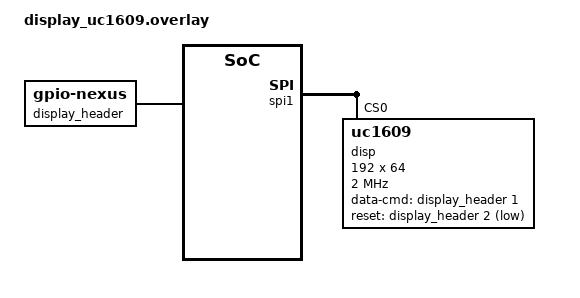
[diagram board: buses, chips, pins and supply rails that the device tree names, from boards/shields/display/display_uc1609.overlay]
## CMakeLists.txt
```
cmake_minimum_required(VERSION 3.20.0)
list(APPEND BOARD_ROOT ${CMAKE_CURRENT_SOURCE_DIR})
list(APPEND DTS_ROOT ${CMAKE_CURRENT_SOURCE_DIR})

find_package(Zephyr REQUIRED HINTS $ENV{ZEPHYR_BASE})

target_compile_features(app PRIVATE cxx_std_20)

find_package(Python3 REQUIRED)

set(fontScript ${CMAKE_CURRENT_SOURCE_DIR}/ttf-to-cxx.py)
target_include_directories(app PRIVATE src)
zephyr_include_directories(${CMAKE_CURRENT_BINARY_DIR})

function(genFont ttf points fontName)
  cmake_parse_arguments(PARSE_ARGV 3 FONT "" "WEIGHT;INDEX;VARIATION" "")

  set(extraArgs "")
  if(FONT_WEIGHT)
    list(APPEND extraArgs --weight ${FONT_WEIGHT})
  endif()
  if(FONT_INDEX)
    list(APPEND extraArgs --index ${FONT_INDEX})
  endif()
  if(FONT_VARIATION)
    list(APPEND extraArgs --variation ${FONT_VARIATION})
  endif()


  set(fontOut ${CMAKE_CURRENT_BINARY_DIR}/${fontName}.cxx)

  target_sources(app PRIVATE ${fontOut})

  add_custom_command(
    OUTPUT  ${fontOut}
    COMMAND ${Python3_EXECUTABLE} ${fontScript} ${ttf} ${points} --name ${fontName} ${extraArgs} > ${fontOut}
    DEPENDS ${fontScript} ${ttf}
    COMMENT "Generating MONO_VTILED C++ font ${fontName} from TTF..."
    VERBATIM
  )
endfunction()

genFont(/usr/share/fonts/truetype/ubuntu/Ubuntu-B.ttf 16 UbuntuB16 VARIATION "Bold")
genFont(/usr/share/fonts/truetype/ubuntu/Ubuntu-M.ttf 15 UbuntuM15)
genFont(/usr/share/fonts/truetype/ubuntu/Ubuntu-B.ttf 14 UbuntuB14 VARIATION "Bold")
genFont(/usr/share/fonts/truetype/ubuntu/Ubuntu-M.ttf 13 UbuntuM13)
genFont(/usr/share/fonts/truetype/ubuntu/Ubuntu-B.ttf 12 UbuntuB12 VARIATION "Bold")
genFont(/usr/share/fonts/truetype/ibm-plex/IBMPlexSans-Light.ttf 12 PlexL12)

project(display)

target_include_directories(app PRIVATE ${fontGenDir})
add_subdirectory(drivers)
target_sources(app PRIVATE src/main.cxx ${FONT_OUT})
```

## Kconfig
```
# Kconfig
mainmenu "Display Configuration"

# Source Zephyr's standard base symbols
source "Kconfig.zephyr"
rsource "drivers/display/Kconfig.uc1609"

menu "Display Selection"

choice APP_DISPLAY_TYPE
    prompt "Active SPI OLED or LCD Display Controller"
    default APP_DISPLAY_UC1609

config APP_DISPLAY_SSD1306
    bool "Solomon Systech SSD1306"
    select DISPLAY
    select MIPI_DBI
    select SSD1306

config APP_DISPLAY_SH1106
    bool "Sino Wealth SH1106"
    select DISPLAY
    select MIPI_DBI
    select SH1106

config APP_DISPLAY_UC1609
    bool "UltraChip UC1609"
    select DISPLAY
    select MIPI_DBI
    select UC1609

endchoice

endmenu
```

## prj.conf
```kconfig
CONFIG_DEBUG_OPTIMIZATIONS=y
CONFIG_DEBUG_THREAD_INFO=y
CONFIG_HW_STACK_PROTECTION=y

CONFIG_CPP=y
CONFIG_STD_CPP20=y
CONFIG_REQUIRES_FULL_LIBCPP=y

CONFIG_COMMON_LIBC_MALLOC_ARENA_SIZE=16384

# Configure for STM32 SPI with uncacheable DMA area at start of SRAM1
# region.
CONFIG_SPI=y
CONFIG_DMA=y
CONFIG_SPI_STM32_DMA=y
CONFIG_SPI_ASYNC=y

CONFIG_ICACHE=y
CONFIG_DCACHE=y
CONFIG_CACHE_MANAGEMENT=y

CONFIG_MEM_ATTR=y
CONFIG_NOCACHE_MEMORY=y

CONFIG_APP_DISPLAY_UC1609=y

# Heap
CONFIG_HEAP_MEM_POOL_SIZE=4096

# USB Console Settings
CONFIG_SERIAL=y
CONFIG_CONSOLE=y
CONFIG_PRINTK=y
CONFIG_UART_CONSOLE=y
CONFIG_LOG=y
CONFIG_LOG_MODE_IMMEDIATE=y
CONFIG_LOG_DEFAULT_LEVEL=3
CONFIG_LOG_MAX_LEVEL=4

CONFIG_LOG_BACKEND_UART=y

# PICOLIBC for date/time stuff
CONFIG_PICOLIBC=y

CONFIG_SHELL=y
```

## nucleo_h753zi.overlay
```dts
/ {
    chosen {
        zephyr,console = &usart3;
        zephyr,shell_uart = &usart3;
        zephyr,display = &ssd1306; /* Add this line */
    };
};

&spi1 {
    status = "okay";
    /* Define the clock and data lines. We omit NSS here to use software CS below */
    pinctrl-0 = <&spi1_sck_pb3 &spi1_mosi_pb5>;
    pinctrl-names = "default";
    cs-gpios = <&gpioa 4 GPIO_ACTIVE_LOW>;

    ssd1306: ssd1306@0 {
        compatible = "solomon,ssd1306";
        reg = <0>;
        spi-max-frequency = <2000000>;
        width = <128>;
        height = <64>;
        segment-offset = <0>;
        page-offset = <0>;
        display-offset = <0>;
        multiplex-ratio = <63>;
        segment-remap;
        com-invdir;
        prechargep = <0x22>;
        
        /* Your custom control pins */
        data-cmd-gpios = <&gpiog 2 GPIO_ACTIVE_HIGH>; /* PG2 */
        reset-gpios = <&gpiog 3 GPIO_ACTIVE_LOW>;     /* PG3 */
    };
};
```

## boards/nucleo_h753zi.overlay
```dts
#include <zephyr/dt-bindings/memory-attr/memory-attr-arm.h>

/delete-node/ &sram1;

/ {
	display_header: display-header {
		gpio-map =
		<0 0 &gpioa 4 0>,  /* PA4: SPI /CS (in software) */
		<1 0 &gpiog 2 0>,  /* PG2: D/C pin */
		<2 0 &gpiog 3 0>;  /* PG3: RESET pin */
	};

	chosen {
		zephyr,nocache = &sram1_nocache;
		zephyr,console = &usart3;
		zephyr,shell_uart = &usart3;
	};

	/* Shrink sram1 so it starts after our 8KB carve-out */
	sram1: memory@30002000 {
		compatible = "mmio-sram";
		reg = <0x30002000 0x0001e000>;
	};

	/* Carve out the 8KB (0x2000 bytes) naturally aligned at 0x30000000 */
	sram1_nocache: memory@30000000 {
		compatible = "zephyr,memory-region", "mmio-sram";
		reg = <0x30000000 0x00002000>;
		zephyr,memory-region = "SRAM1_NOCACHE";
		zephyr,memory-attr = <( DT_MEM_ARM(ATTR_MPU_RAM_NOCACHE) )>;
	};
};

&usart3 {
	status = "okay";
	current-speed = <115200>;
};

&spi1 {
	status = "okay";
	pinctrl-0 = <&spi1_sck_pb3 &spi1_mosi_pb5>;
	pinctrl-names = "default";
	cs-gpios = <&display_header 0 GPIO_ACTIVE_LOW>;
};
```

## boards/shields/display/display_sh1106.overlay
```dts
/ {
	chosen {
		zephyr,display = &disp;
	};
};


&spi1 {
	status = "okay";

	disp: display@0 {
		compatible = "sinowealth,sh1160";
		reg = <0>;
		spi-max-frequency = <8000000>;
		width = <128>;
		height = <64>;

		data-cmd-gpios = <&display_header 1 GPIO_ACTIVE_HIGH>;
		reset-gpios    = <&display_header 2 GPIO_ACTIVE_LOW>;

		segment-offset = <2>;
		page-offset = <0>;
		display-offset = <0>;
		multiplex-ratio = <63>;
		segment-remap;
		com-invdir;
		prechargep = <0x22>;
	};
};
```

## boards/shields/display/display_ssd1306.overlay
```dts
/ {
	chosen {
		zephyr,display = &disp;
	};
};


&spi1 {
	status = "okay";

	disp: display@0 {
		compatible = "solomon,ssd1306fb";
		reg = <0>;
		spi-max-frequency = <10000000>;
		width = <128>;
		height = <64>;

		data-cmd-gpios = <&display_header 1 GPIO_ACTIVE_HIGH>;
		reset-gpios    = <&display_header 2 GPIO_ACTIVE_LOW>;

		segment-offset = <0>;
		page-offset = <0>;
		display-offset = <0>;
		multiplex-ratio = <63>;
		segment-remap;
		com-invdir;
		prechargep = <0x22>;
	};
};
```

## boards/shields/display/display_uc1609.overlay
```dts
#include <zephyr/dt-bindings/gpio/gpio.h>
#include <zephyr/dt-bindings/spi/spi.h>
#include <zephyr/dt-bindings/memory-attr/memory-attr-arm.h>
#include <zephyr/dt-bindings/dma/stm32_dma.h>

/ {
	chosen {
		zephyr,display = &disp;
		zephyr,sram-nocache = &sram3;
	};

	display_header: display-header {
		compatible = "zephyr,gpio-nexus";
		#gpio-cells = <2>;
		gpio-map-mask = <0xffffffff 0x0>;
		gpio-map-pass-thru = <0x0 0xffffffff>;
	};
};

&sram4 {
	status = "okay";
	/delete-property/ zephyr,memory-attr;
};


&dma1 {
	status = "okay";
};

&dma2 {
	status = "okay";
};

&dmamux1 {
	status = "okay";
};


&spi1 {
	status = "okay";

	dmas = <&dmamux1 2 38 (STM32_DMA_PERIPH_TX | STM32_DMA_PRIORITY_MEDIUM)>,
               <&dmamux1 3 37 (STM32_DMA_PERIPH_RX | STM32_DMA_PRIORITY_MEDIUM)>;
	dma-names = "tx", "rx";

	disp: display@0 {
		compatible = "zephyr,uc1609";
		reg = <0>;
		spi-max-frequency = <2000000>;
		width = <192>;
		height = <64>;

		data-cmd-gpios = <&display_header 1 GPIO_ACTIVE_HIGH>;
		reset-gpios    = <&display_header 2 GPIO_ACTIVE_LOW>;
	};
};
```

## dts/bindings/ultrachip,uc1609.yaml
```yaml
# Copyright (c) 2026 Starview Labs (starviewlabs.com)
# SPDX-License-Identifier: Apache-2.0

title: Ultrachip UC1609 dot-matrix LCD controller on MIPI-DBI bus

description: |
    The Ultrachip UC1609 is a monochrome Dot-Matrix LCD controller
    with a maximum 192x64 resolution.

compatible: "zephyr,uc1609"

include:
  - spi-device.yaml

properties:
  width:
    type: int
    required: true
    description: Display width in pixels

  height:
    type: int
    required: true
    description: Display height in pixels

  data-cmd-gpios:
    type: phandle-array
    required: true
    description: Data/Command selection GPIO pin

  reset-gpios:
    type: phandle-array
    required: true
    description: Reset GPIO pin
```

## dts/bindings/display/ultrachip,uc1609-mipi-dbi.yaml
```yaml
# Copyright (c) 2026 Starview Labs (starviewlabs.com)
# SPDX-License-Identifier: Apache-2.0

title: Ultrachip UC1609 dot-matrix LCD controller on MIPI-DBI bus

description: |
    The Ultrachip UC1609 is a monochrome Dot-Matrix LCD controller
    with a maximum 192x64 resolution.

compatible: "ultrachip,uc1609"

include: ["ultrachip,uc1609-common.yaml", "mipi-dbi-spi-device.yaml"]
```

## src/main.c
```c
#include <zephyr/kernel.h>
#include <zephyr/device.h>
#include <zephyr/drivers/display.h>
#include <zephyr/logging/log.h>
#include <zephyr/display/cfb.h>
#include <zephyr/usb/usb_device.h>
#include <zephyr/sys/timeutil.h>
#include <zephyr/sys/time_units.h>
#include <zephyr/kernel.h>
#include "cfb_font_12_7x16.h"
#include <time.h>
#include <stdio.h>
#include <stdbool.h>
#include <stdint.h>
#include <stdlib.h>

static const int fontH = 16;
static const int fontW = 7;

LOG_MODULE_REGISTER(main, LOG_LEVEL_DBG);

static const struct device *display = DEVICE_DT_GET(DT_CHOSEN(zephyr_display));


static const int daysBeforeMonth[] = {
  0, 31, 59, 90, 120, 151, 181, 212, 243, 273, 304, 334
};

static const int secondsPerHour = 60 * 60;
static const int secondsPerDay  = 24 * (60 * 60);

static bool isLeapYear(int year) {
  return ((year % 4 == 0) && (year % 100 != 0)) || (year % 400 == 0);
}

// Portable UTC converter from struct tm to epoch seconds
static time_t tmToEpochUTC(const struct tm *timeP) {
  int year = timeP->tm_year + 1900;
  int month = timeP->tm_mon; // 0-indexed [0, 11]

  int numLeapYears = 0;

  for (int y = 1970; y < year; ++y) {
    if (isLeapYear(y)) numLeapYears++;
  }

  int days = (year - 1970) * 365 + numLeapYears + daysBeforeMonth[month] + (timeP->tm_mday - 1);
  if (month > 1 && isLeapYear(year)) days++;

  time_t totalSeconds = (time_t)days * secondsPerDay;
  totalSeconds += (time_t)timeP->tm_hour * secondsPerHour;
  totalSeconds += (time_t)timeP->tm_min * 60;
  totalSeconds += (time_t)timeP->tm_sec;

  return totalSeconds;
}



// Returns the font index to be used with cfb_framebuffer_set_font().
static int configureFont(const struct device *d, int w, int h) {
  int nFonts = cfb_get_numof_fonts(d);

  for (int fontX = 0; fontX < nFonts; ++fontX) {
    uint8_t thisW, thisH;

    if (cfb_get_font_size(d, fontX, &thisW, &thisH) == 0) {

      if (w == thisW && h == thisH) {
        cfb_framebuffer_set_font(d, fontX);
	return fontX;
      }
    }
  }

  LOG_ERR("configureFont failed to find font with w=%d h=%d", (int) w, (int) h);
  return 0;
}


static void drawSMeter(int dB) {
  (void) cfb_draw_text(display, "S0 3 9", 0*fontW, 0*fontH);

  static const int fastH = (fontH - 1)/2;
  static const int peakH = fastH;
  static const int midH = fontH/2;
  static const int MAX_SMETER_DB = 24;
  static const int sMeterW = fontW * 12;
  static const int decayDelta = 3;
#define DB_TO_X(DB)	((DB) * sMeterW / MAX_SMETER_DB)

  if (dB > MAX_SMETER_DB) dB = MAX_SMETER_DB;

  // Show current value without any decay
  int w = DB_TO_X(dB);
  (void) cfb_invert_area(display, 0, 1*fontH + + midH - fastH/2, w, fastH);

  // Show peak hold value with slowish decay
  static int lastPeak;
  int peakdB = dB;

  // Handle decay
  if (dB < lastPeak && dB > 0) peakdB = lastPeak - decayDelta;

  lastPeak = peakdB;

  w = DB_TO_X(peakdB);
  struct cfb_position startR = {.x = 0, .y = 1*fontH + midH - peakH/2};
  struct cfb_position endR = {.x = w, .y = startR.y + peakH};
  (void) cfb_draw_rect(display, &startR, &endR);
}


static void drawDateTime(struct tm *timeP) {
  char buf[32];
  strftime(buf, sizeof(buf), "%H:%M:%S", timeP);
  (void) cfb_draw_text(display, buf, 15*fontW, 0*fontH);
  strftime(buf, sizeof(buf), "%a %Y-%m-%d", timeP);
  (void) cfb_draw_text(display, buf, 13*fontW, 1*fontH);
}


static void drawFreq(const int freq) {
  char buf[32];
  sprintf(buf, "%s %2d,%03d,%03d", "USB", freq/1000000, (freq/1000) % 1000, freq % 1000);
  (void) cfb_draw_text(display, buf, 5*fontW, 2*fontH);
}


static void drawUSBStatus(bool up) {
  (void) cfb_draw_text(display, up ? "[USB data connected]" : "[NO USB data linked!]", 0*fontW, 3*fontH);
}


int main(void) {
  int st;

  LOG_INF("Serial console initialized.");

  if (!device_is_ready(display)) {
    LOG_ERR("Display device is NOT ready.");
    return -ENODEV;
  }

  LOG_INF("Display %s initialized.", display->name);
  display_blanking_off(display);

  struct display_capabilities caps;
  display_get_capabilities(display, &caps);
  LOG_INF("Resolution: %dx%d.", caps.x_resolution, caps.y_resolution);

  st = cfb_framebuffer_init(display);
  LOG_INF("Framebuffer initialized %d.", st);

  int fontX = configureFont(display, fontW, fontH);
  LOG_INF("Font index %d.", fontX);
  cfb_framebuffer_set_font(display, fontX);

#define NITERS 10000
  uint64_t startT = k_cycle_get_64();

  static struct tm startTM = {
    .tm_sec = 0,
    .tm_min = 59,
    .tm_hour = 23,
    .tm_mday = 23,
    .tm_mon = 10,
    .tm_year = 2026 - 1900,
    .tm_wday = 0,
    .tm_yday = 0,
    .tm_isdst = 0,
  };

  time_t startTime = tmToEpochUTC(&startTM);

  for (int k=NITERS; k--; ) {
    time_t now = startTime + k_cyc_to_sec_floor64(k_cycle_get_64() - startT);
    struct tm nowTM;
    gmtime_r(&now, &nowTM);

    (void) cfb_framebuffer_clear(display, true);
    int dB = rand() % 30 + 1;
    drawSMeter(dB);
    drawDateTime(&nowTM);
    drawFreq(12345678);
    drawUSBStatus(true);

    cfb_framebuffer_finalize(display);
    k_msleep(200);
  }

  uint64_t endT = k_cycle_get_64();
  LOG_INF("Time for %d iterations: %ums.", NITERS, (unsigned) k_cyc_to_ms_near64(endT - startT));

  st = cfb_framebuffer_finalize(display);
  LOG_INF("Framebuffer finalized %d.", st);

  return 0;
}
```

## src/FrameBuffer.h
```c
#pragma once
#include <stdint.h>
#include <vector>
#include <algorithm>
#include <zephyr/kernel.h>


// This supports MONO_VTILED bitmaps for monochrome LCD. It's very
// made-for-purpose and limited. Text drawing must be done such that y
// % 8 == 0 so the glyph blitter doesn't have to deal with crossing
// LCD RAM pages.
class FrameBuffer {
 public:
  static constexpr uint8_t WIDTH = 192;
  static constexpr uint8_t HEIGHT = 64;
  static constexpr unsigned FBSIZE = WIDTH * HEIGHT / 8;

 FrameBuffer(uint8_t *bitsP, uint8_t width=WIDTH, uint8_t height=HEIGHT)
   : bitsP(bitsP),
    width(width),
    height(height),
    sizeBytes(width*height/8)
    {}

  struct Point {
    uint8_t x;
    uint8_t y;
  };

  struct Glyph {
    uint16_t bitOffset;
    uint8_t inkW;
    uint8_t advance;
  };


  struct Font {

    Font(const uint8_t hPages, const std::vector<Glyph> glyphs, const uint8_t *bitsP)
        : hPages(hPages), 
          glyphs(std::move(glyphs)), 
      bitsP(bitsP) {}

    const uint8_t hPages;
    const std::vector<Glyph> glyphs;
    const uint8_t *bitsP;
  };


  // NOTE: this assumes y is a multiple of 8 for now. If truly any
  // alignment must be allowed then that'll be a fun exercise for
  // another day, innit?
  void drawString(const char *stringP, uint8_t x, uint8_t y, const Font &font) {

    for (const char *p=stringP; *p; ++p) {
      const uint8_t chX = ((*p < ' ' || *p > '~') ? '?' : *p) - ' ';
      const Glyph &glyph = font.glyphs[chX];
      unsigned glX = glyph.bitOffset;

      for (uint8_t inkPage=0; inkPage < font.hPages; ++inkPage) {
	const uint8_t page = (y >> 3) + inkPage;

	// Copy page strip for glyph to fb while clipping to right edge.
	for (uint8_t k=0; k < glyph.inkW; ++k, ++glX) {
	  if (x <= WIDTH) bitsP[x + k + page*WIDTH] |= font.bitsP[glX];
	}
      }

      x += glyph.advance;
    }
  }
  

  unsigned measureString(const char *stringP, const Font &font) {
    unsigned totalWidth = 0;

    for (; *stringP; ++stringP) {
      const uint8_t chX = ((*stringP < ' ' || *stringP > '~') ? '?' : *stringP) - ' ';
      const Glyph &glyph = font.glyphs[chX];
      totalWidth += glyph.advance;
    }

    return totalWidth;
  }


  void drawFilledRect(uint8_t x, uint8_t y, uint8_t w, uint8_t h) {
    rectLoop(x, y, w, h,
	   [](uint8_t &pageByte, uint8_t mask) { pageByte |= mask; });
  }


  void invertRect(uint8_t x, uint8_t y, uint8_t w, uint8_t h) {
    rectLoop(x, y, w, h,
	   [](uint8_t &pageByte, uint8_t mask) { pageByte ^= mask; });
  }


  void eraseRect(uint8_t x=0, uint8_t y=0, uint8_t w=WIDTH, uint8_t h=HEIGHT) {
    rectLoop(x, y, w, h,
	   [](uint8_t &pageByte, uint8_t mask) { pageByte &= ~mask; });
  }


  void drawLine(uint8_t x, uint8_t y, uint8_t w, uint8_t h) {
    if (w == 0 || h == 0) return;

    if (h == 0) {			// Horizontal line
      drawFilledRect(x, y, w, 1);
    } else if (width == 0) {	// Vertical line
      drawFilledRect(x, y, 1, h);
    } else {			// Bresenham line
      int m = 2 * h;
      int slopeErr = m - w;

      for (uint8_t xOffset=0, thisY=y; xOffset < w; ++xOffset) {
	const uint8_t page = thisY >> 3;
	const uint8_t mask = maskForY(thisY);
	bitsP[page * width + x + xOffset] |= mask;

	slopeErr += m;

	if (slopeErr >= 0) {
	  ++thisY;
	  slopeErr -= 2 * w;
	}
      }
    }
  }

  uint8_t *bitsP;
  uint8_t width;
  uint8_t height;
  uint8_t sizeBytes;

 protected:

  // Returns a bit mask the pixel in the vertical strip of pixels in a
  // framebuffer byte for y, considered modulo 8.
  uint8_t maskForY(uint8_t y) {
    return 1 << (y & 7);
  }


  // Returns a bit mask for the vertical strip of pixels in a single
  // framebuffer byte for the range [startY, lastY] where each of
  // these ordinates is considered modulo 8.
  uint8_t maskForRange(uint8_t startY, uint8_t lastY) {
    const uint8_t startMask = 0xFF << (startY & 7);
    const uint8_t startEndBit = ((startY + 8) & -8) - 1;
    const uint8_t lastMask = 0xFF >> (7 ^ (std::min(startEndBit, lastY) & 7));
    return startMask & lastMask;
  }


  template<typename BltOp>
  void rectLoop(uint8_t x, uint8_t y, uint8_t w, uint8_t h, BltOp bltOp) {
    const auto [startX, startY, lastX, lastY] = makeCanonical(x, y, w, h);

    for (uint8_t thisY=startY; thisY <= lastY; thisY = (thisY+8) & -8) {
      const uint8_t page = thisY >> 3;
      const uint8_t mask = maskForRange(thisY, lastY);
      if (mask == 0) return;

      for (uint8_t thisX=startX; thisX <= lastX; ++thisX) {
	bltOp(bitsP[thisX + page*WIDTH], mask);
      }
    }
  }


  struct Canonicalized {
    uint8_t startX;
    uint8_t startY;
    uint8_t lastX;
    uint8_t lastY;
  };

  Canonicalized makeCanonical(uint8_t x, uint8_t y, uint8_t w, uint8_t h) {
    return Canonicalized(x, y, std::min(x + w, width - 1), std::min(y + h, height - 1));
  }
};
```
